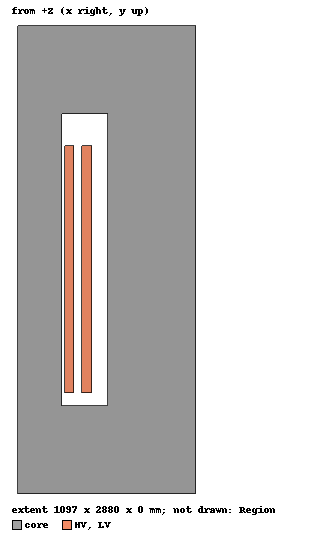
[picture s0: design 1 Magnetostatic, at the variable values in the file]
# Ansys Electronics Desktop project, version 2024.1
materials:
  vacuum: permittivity=1
  steel_1008: permeability{HUnit=A_per_meter BUnit=tesla curve (0, 0) (159.2, 0.2402) (318.3, 0.8654) (477.5, 1.1106) (636.6, 1.2458) (795.8, 1.331) (1591.5, 1.5) (3183.1, 1.6) (4774.6, 1.683) (6366.2, 1.741) (7957.7, 1.78) (15915.5, 1.905) (31831, 2.025) (47746.5, 2.085) (63662, 2.13) (79577.5, 2.165) (159155, 2.28) (318310, 2.485) (397887, 2.5851)} conductivity=2000000
  copper: permeability=0.999991 conductivity=58000000
  air: permittivity=1.0006 permeability=1.0000004

design 1 Magnetostatic (Maxwell 2D, Magnetostatic, XY geometry, model units mm)
options: ModelDepth=1meter
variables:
  # Dimensions
  core_width = 1097mm
  core_height = 2880mm
  core_opening_x1 = 270mm
  core_opening_x2 = 557mm
  core_opening_y1 = 540mm
  core_opening_y2 = 2340mm
  core_opening_width = core_opening_x2-core_opening_x1
  core_opening_height = core_opening_y2-core_opening_y1
  LV_x1 = 293mm
  LV_x2 = 345mm
  LV_width = LV_x2-LV_x1
  LV_mean_radius = LV_x1+LV_width/2
  LV_mean_turn_length = pi*2*LV_mean_radius
  LV_y1 = 620mm
  LV_y2 = 2140mm
  LV_height = LV_y2-LV_y1
  HV_x1 = 394mm
  HV_x2 = 459mm
  HV_width = HV_x2-HV_x1
  HV_mean_radius = HV_x1+HV_width/2
  HV_mean_turn_length = pi*2*HV_mean_radius
  HV_y1 = 620mm
  HV_y2 = 2140mm
  HV_height = HV_y2-HV_y1
  HV_LV_gap_radius = (LV_x2 + HV_x1)/2
  HV_LV_gap_length = pi*2*HV_LV_gap_radius
  # Windings
  Amp_turns = 135024A
  Frequency = 50Hz
  HV_turns = 980
  HV_current = Amp_turns/HV_turns
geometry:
  core [steel_1008] = rectangle(corner=(0mm, 0mm, 0mm), x_size=core_width, y_size=core_height)
  core_hole = rectangle(corner=(core_opening_x1, core_opening_y1, 0mm), x_size=core_opening_width, y_size=core_opening_height)
  core.subtract(core_hole)
  LV [copper] = rectangle(corner=(LV_x1, LV_y1, 0mm), x_size=LV_width, y_size=LV_height)
  HV [copper] = rectangle(corner=(HV_x1, HV_y1, 0mm), x_size=HV_width, y_size=HV_height)
  Region [air] = region(percentage_offset: +X=20, -X=10, +Y=0, -Y=10, +Z=0, -Z=0)
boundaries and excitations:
  VectorPotential1: Vector Potential Edges=Region.edge(all 4) Value=0
  LV: Current Objects=LV Current=Amp_turns IsPositive=false
  HV: Current Objects=HV Current=Amp_turns IsPositive=true
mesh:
  all_objects: LengthBased RefineInside Objects=[core, Region, LV, HV] MaxLength=50mm
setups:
  Setup1: Magnetostatic MaximumPasses=10 MinimumPasses=3 MinimumConvergedPasses=1 PercentRefinement=30 PercentError=1 NonLinearResidual=0.001
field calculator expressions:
  Leakage_inductance = Fundamental_Quantity(25) | EnterSurface(HV) | SurfaceValue | Integrate | Scalar_Function(FuncValue='HV_mean_turn_length') | * | Fundamental_Quantity(25) | EnterSurface(LV) | SurfaceValue | Integrate | Scalar_Function(FuncValue='LV_mean_turn_length') | * | Fundamental_Quantity(25) | EnterSurface(Region) | SurfaceValue | Integrate | Scalar_Function(FuncValue='HV_LV_gap_length') | * | + | + | 2 | * | Scalar_Function(FuncValue='HV_current') | Scalar_Function(FuncValue='HV_current') | * | /
  Leakage_reactance = Leakage_inductance | 2 | 3.14159265358979 | Scalar_Function(FuncValue='Frequency') | * | * | *
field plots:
  Energy: Energy over core.face(at (548.5, 1440, 0)) LV.face HV.face Region.face(at (603.35, 1296, 0)) on Setup1 : LastAdaptive
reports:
  Transformer Leakage Inductance: Leakage_inductance, Leakage_reactance vs core_width on Setup1 : LastAdaptive [core_width=1097mm core_height=2880mm core_opening_x1=270mm core_opening_x2=557mm core_opening_y1=540mm core_opening_y2=2340mm LV_x1=293mm LV_x2=345mm LV_y1=620mm LV_y2=2140mm HV_x1=394mm HV_x2=459mm HV_y1=620mm HV_y2=2140mm Amp_turns=135024A Frequency=50Hz HV_turns=980]
